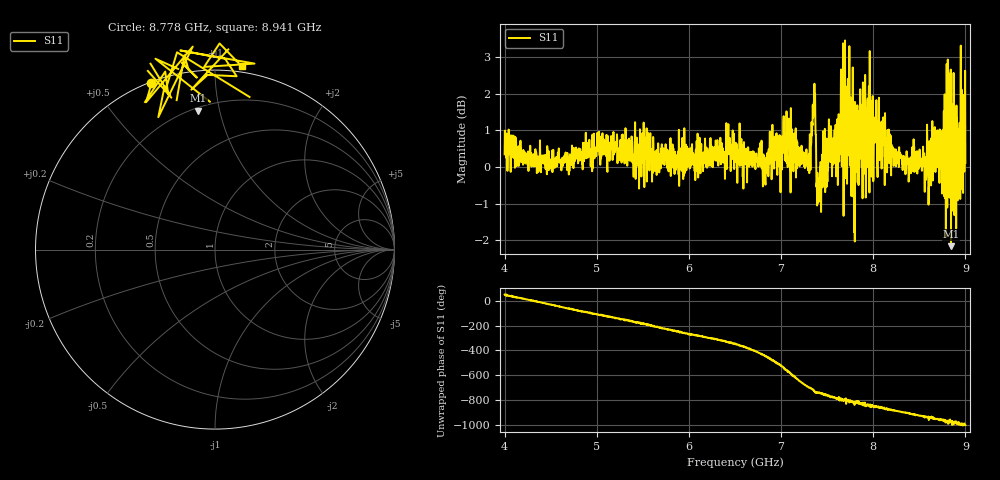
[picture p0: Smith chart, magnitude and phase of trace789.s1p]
! Created with skrf 1.8.0 (http://scikit-rf.org).
# Hz S RI R 50.0
!freq ReS11 ImS11
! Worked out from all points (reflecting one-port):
!   1601 points, 4 GHz to 9 GHz, reference 50 ohm
!   lowest |S11| = -2.2 dB at 8.844 GHz (marker M1), VSWR 8.09, Z = 10.9 + j43.2 ohm
!   phase of S11 starts at 53 deg and turns -1057 deg over the sweep
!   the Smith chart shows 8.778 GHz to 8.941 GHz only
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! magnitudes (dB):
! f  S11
! 4 GHz  0.3
! 4.625 GHz  0.2
! 5.25 GHz  0.5
! 5.875 GHz  0.2
! 6.5 GHz  0.1
! 6.825 GHz  0.0
! 7.022 GHz  0.7
! 7.125 GHz  0.6
! 7.284 GHz  0.1
! 7.353 GHz  1.7
! 7.409 GHz  -0.3
! 7.466 GHz  0.2
! 7.619 GHz  0.1
! 7.669 GHz  0.6
! 7.75 GHz  1.6
! 7.784 GHz  0.2
! 7.872 GHz  1.7
! 7.962 GHz  3.2
! 7.981 GHz  -0.3
! 8.375 GHz  0.1
! 8.75 GHz  0.2
! 8.766 GHz  1.5
! 8.806 GHz  0.8
! 8.816 GHz  -0.8
! 8.844 GHz  -2.2
! 8.919 GHz  -0.2
! 8.972 GHz  0.3
! 9 GHz  0.1
